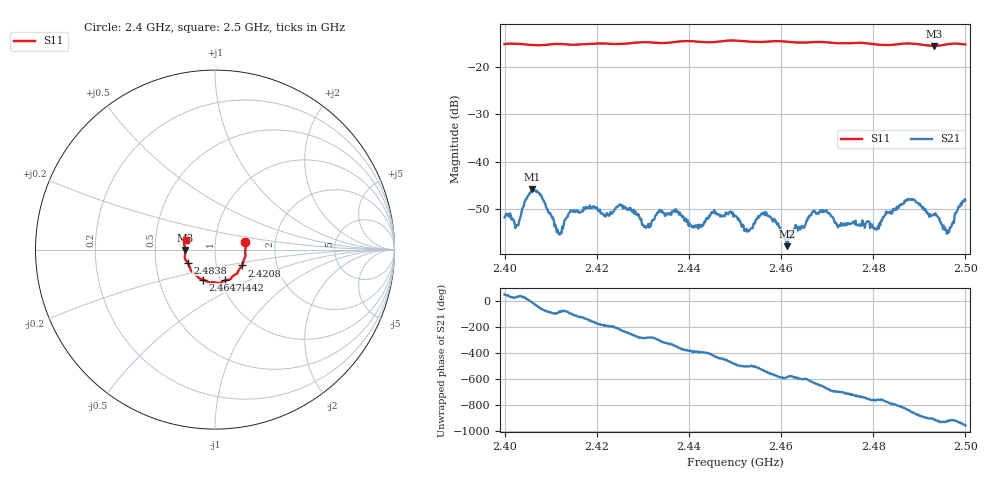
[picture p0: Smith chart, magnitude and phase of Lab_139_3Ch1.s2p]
# Hz S RI R 50
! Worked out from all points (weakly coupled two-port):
!   601 points, 2.4 GHz to 2.5 GHz, reference 50 ohm
!   highest |S21| = -45.68 dB at 2.406 GHz (marker M1); lowest = -57.7 dB at 2.4613 GHz (marker M2)
!   lowest |S11| = -15.6 dB at 2.4932 GHz (marker M3), VSWR 1.40, Z = 35.8 - j0.103 ohm
!   |S11| at or under -10 dB: start of sweep to end of sweep
!   S12 and S22 are empty: the file has one direction only
!   S11 on the Smith chart (normalised r, x): 2.4 GHz: 1.40, +0.12; 2.4208 GHz: 1.33, -0.24; 2.4442 GHz: 1.05, -0.37; 2.4647 GHz: 0.83, -0.29; 2.4838 GHz: 0.73, -0.11; 2.5 GHz: 0.72, +0.08
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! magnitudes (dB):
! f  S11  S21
! 2.4 GHz  -15.2  -51.7
! 2.4027 GHz  -15.2  -53.3
! 2.406 GHz  -15.4  -45.7
! 2.4118 GHz  -15.2  -55.3
! 2.4167 GHz  -15.3  -50.5
! 2.4208 GHz  -15.1  -50.9
! 2.4308 GHz  -14.8  -53.6
! 2.4333 GHz  -15.0  -50.6
! 2.4442 GHz  -14.9  -52.0
! 2.45 GHz  -14.5  -51.4
! 2.4528 GHz  -14.7  -54.5
! 2.4567 GHz  -14.7  -50.6
! 2.4613 GHz  -14.7  -57.7
! 2.4647 GHz  -14.9  -53.8
! 2.4667 GHz  -14.8  -50.8
! 2.4807 GHz  -15.3  -54.3
! 2.4833 GHz  -15.4  -50.6
! 2.4838 GHz  -15.4  -50.4
! 2.4882 GHz  -15.1  -47.9
! 2.4932 GHz  -15.6  -51.0
! 2.4963 GHz  -15.2  -54.9
! 2.5 GHz  -15.3  -48.0
